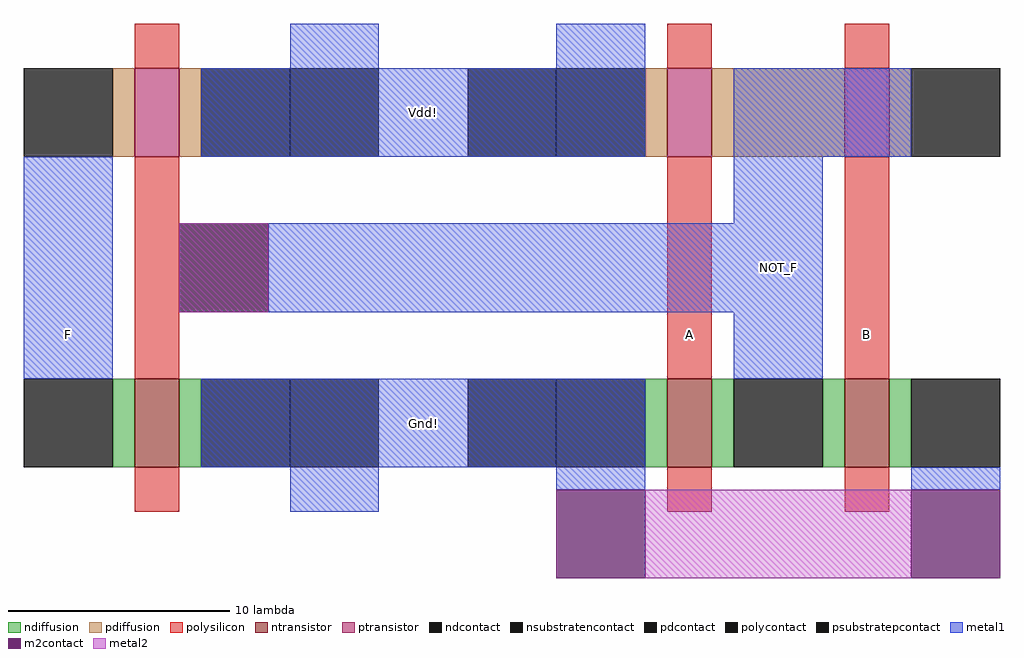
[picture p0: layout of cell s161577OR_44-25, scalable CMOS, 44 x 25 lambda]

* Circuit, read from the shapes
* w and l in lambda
.subckt s161577OR_44-25 A B F Gnd! NOT_F Vdd!
M1 Gnd! NOT_F F Gnd! nfet w=4 l=2
M2 NOT_F A Gnd! Gnd! nfet w=4 l=2
M3 Gnd! B NOT_F Gnd! nfet w=4 l=2
M4 Vdd! NOT_F F Vdd! pfet w=4 l=2
M5 n1 A Vdd! Vdd! pfet w=4 l=2
M6 NOT_F B n1 Vdd! pfet w=4 l=2
.ends

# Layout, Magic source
magic
tech scmos
<< polysilicon >>
rect 3 -6 5 -4
rect 11 -6 13 -4
<< metal1 >>
rect -18 3 2 7
rect -26 -7 -22 -3
rect -15 -4 10 0
rect -18 -11 2 -7
<< metal2 >>
rect -19 -4 -15 0
<< polycontact >>
rect -19 -4 -15 0
use s161577NOT_44-25  s161577NOT_44-25_0
transform 1 0 56 0 1 -2
box -82 -11 -66 11
use s161577NOR_44-25  s161577NOR_44-25_0
transform 1 0 10 0 1 0
box -16 -16 8 9
<< labels >>
rlabel polysilicon 4 -5 4 -5 1 A
rlabel polysilicon 12 -5 12 -5 1 B
rlabel metal1 -24 -5 -24 -5 3 F
rlabel metal1 -8 -9 -8 -9 1 Gnd!
rlabel metal1 -8 5 -8 5 5 Vdd!
rlabel metal1 8 -2 8 -2 1 NOT_F
<< end >>

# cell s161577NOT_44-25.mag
magic
tech scmos
<< polysilicon >>
rect -77 9 -75 11
rect -77 -5 -75 5
rect -77 -11 -75 -9
<< ndiffusion >>
rect -78 -9 -77 -5
rect -75 -9 -74 -5
<< pdiffusion >>
rect -78 5 -77 9
rect -75 5 -74 9
<< metal1 >>
rect -70 9 -66 11
rect -82 -5 -78 5
rect -70 -11 -66 -9
<< ntransistor >>
rect -77 -9 -75 -5
<< ptransistor >>
rect -77 5 -75 9
<< ndcontact >>
rect -82 -9 -78 -5
rect -74 -9 -70 -5
<< pdcontact >>
rect -82 5 -78 9
rect -74 5 -70 9
<< psubstratepcontact >>
rect -70 -9 -66 -5
<< nsubstratencontact >>
rect -70 5 -66 9
<< labels >>
rlabel metal1 -80 0 -80 0 3 F
rlabel metal1 -68 10 -68 10 6 Vdd!
rlabel metal1 -68 -10 -68 -10 8 Gnd!
rlabel polysilicon -76 0 -76 0 1 A
<< end >>

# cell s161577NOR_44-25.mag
magic
tech scmos
<< polysilicon >>
rect -7 7 -5 9
rect 1 7 3 9
rect -7 -7 -5 3
rect 1 -7 3 3
rect -7 -13 -5 -11
rect 1 -13 3 -11
<< ndiffusion >>
rect -8 -11 -7 -7
rect -5 -11 -4 -7
rect 0 -11 1 -7
rect 3 -11 4 -7
<< pdiffusion >>
rect -8 3 -7 7
rect -5 3 1 7
rect 3 3 4 7
<< metal1 >>
rect -12 7 -8 9
rect -4 3 4 7
rect -4 -7 0 3
rect -12 -12 -8 -11
rect 4 -12 8 -11
<< metal2 >>
rect -8 -16 4 -12
<< ntransistor >>
rect -7 -11 -5 -7
rect 1 -11 3 -7
<< ptransistor >>
rect -7 3 -5 7
rect 1 3 3 7
<< ndcontact >>
rect -12 -11 -8 -7
rect -4 -11 0 -7
rect 4 -11 8 -7
<< pdcontact >>
rect -12 3 -8 7
rect 4 3 8 7
<< m2contact >>
rect -12 -16 -8 -12
rect 4 -16 8 -12
<< psubstratepcontact >>
rect -16 -11 -12 -7
<< nsubstratencontact >>
rect -16 3 -12 7
<< labels >>
rlabel metal1 -10 8 -10 8 5 Vdd!
rlabel polysilicon -6 1 -6 1 1 A
rlabel polysilicon 2 1 2 1 1 B
rlabel metal1 -2 1 -2 1 1 F
rlabel metal2 -2 -14 -2 -14 1 Gnd!
<< end >>
